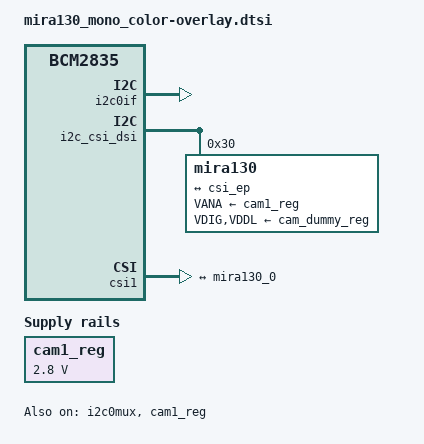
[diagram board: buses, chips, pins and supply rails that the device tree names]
// SPDX-License-Identifier: GPL-2.0-only
// Definitions for MIRA130 camera module on VC I2C bus

#include <dt-bindings/gpio/gpio.h>

/{
	compatible = "brcm,bcm2835";

	fragment@0 {
		target = <&i2c0if>;
		__overlay__ {
			status = "okay";
		};
	};

	clk_frag: fragment@1 {
		target = <&cam1_clk>;
		__overlay__ {
			status = "okay";
			clock-frequency = <24000000>;
		};
	};

	fragment@2 {
		target = <&i2c0mux>;
		__overlay__ {
			status = "okay";
		};
	};

	fragment@5 {
		target = <&cam1_reg>;
		__overlay__ {
			status = "okay";
			regulator-name = "mira130_vana";
			regulator-min-microvolt = <2800000>;
			regulator-max-microvolt = <2800000>;
		};
	};

	i2c_frag: fragment@100 {
		target = <&i2c_csi_dsi>;
		__overlay__ {
			#address-cells = <1>;
			#size-cells = <0>;
			status = "okay";

			mira130: mira130@30 {
				// compatible = "ams,mira130";
				// The newer Mira130 borads have 0x30
				reg = <0x30>;
				// reg-names = "mira130";
				status = "okay";

				//clocks = <&mira130_clk>;
				clocks = <&cam1_clk>;
				clock-names = "xclk";

				// TODO(jalv): Add here camera supplies based on the
				// TPS65912 pmic.
				VANA-supply = <&cam1_reg>;	/* 2.8v */
				VDIG-supply = <&cam_dummy_reg>;	/* 1.8v */
				VDDL-supply = <&cam_dummy_reg>;	/* 1.2v */

				// FIXME(jalv): Make sure orientation is correct
				rotation = <0>;
				orientation = <2>;
				skip-reg-upload = <0>;

				port {
					mira130_0: endpoint {
						remote-endpoint = <&csi_ep>;
						clock-lanes = <0>;
						data-lanes = <1 2>;
						// clock-noncontinuous; // mira130 reg seq use continuois clk
						link-frequencies =
							/bits/ 64 <456000000>;
					};
				};
	
			};
		};
	};

	csi_frag: fragment@101 {
		target = <&csi1>;
		csi: __overlay__ {
			status = "okay";
			brcm,media-controller;

			port {
				csi_ep: endpoint {
					remote-endpoint = <&mira130_0>;
					clock-lanes = <0>;
					data-lanes = <1 2>;
					// clock-noncontinuous; // mira130 reg seq use continous clk
				};
			};
		};
	};

	__overrides__ {
		rotation = <&mira130>,"rotation:0";
		orientation = <&mira130>,"orientation:0";
		skip-reg-upload = <&mira130>,"skip-reg-upload:0";
		media-controller = <&csi>,"brcm,media-controller?";
		cam0 = <&i2c_frag>, "target:0=",<&i2c_csi_dsi0>,
		       <&csi_frag>, "target:0=",<&csi0>,
		       <&clk_frag>, "target:0=",<&cam0_clk>,
		       <&mira130>, "clocks:0=",<&cam0_clk>,
		       <&mira130>, "VANA-supply:0=",<&cam0_reg>;
	};
};
